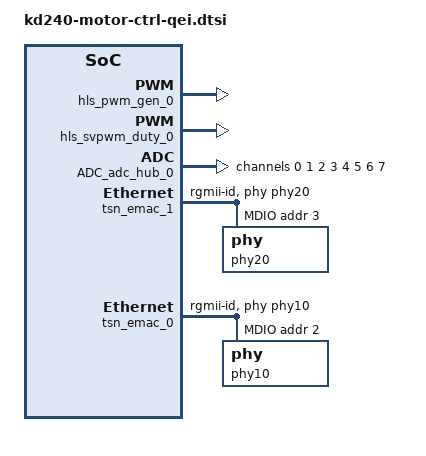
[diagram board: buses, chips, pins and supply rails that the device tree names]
// SPDX-License-Identifier: GPL-2.0
/*
 * dts file for Xilinx KD240 motor drives
 *
 * (C) Copyright 2023, Advanced Micro Devices, Inc.
 *
 */

/dts-v1/;
/plugin/;

&fpga_full {
	#address-cells = <2>;
	#size-cells = <2>;
	firmware-name = "kd240_motor_ctrl_qei.bit.bin";
	resets = <&zynqmp_reset 116>, <&zynqmp_reset 117>;
};

&amba {
	afi0: afi0 {
		compatible = "xlnx,afi-fpga";
		config-afi = < 0 0>, <1 0>, <2 0>, <3 0>, <4 0>, <5 0>, <6 0>, <7 0>, <8 0>, <9 0>, <10 0>, <11 0>, <12 0>, <13 0>, <14 0x800>, <15 0>;
	};

	clocking0: clocking0 {
		#clock-cells = <0>;
		assigned-clock-rates = <99999001>;
		assigned-clocks = <&zynqmp_clk 71>;
		clock-output-names = "fabric_clk";
		clocks = <&zynqmp_clk 71>;
		compatible = "xlnx,fclk";
	};

	clocking1: clocking1 {
		#clock-cells = <0>;
		assigned-clock-rates = <19999800>;
		assigned-clocks = <&zynqmp_clk 72>;
		clock-output-names = "fabric_clk";
		clocks = <&zynqmp_clk 72>;
		compatible = "xlnx,fclk";
	};


	hls_foc_periodic_0: hls_foc_periodic@a0000000 {
		clock-names = "ap_clk";
		clocks = <&zynqmp_clk 71>;
		compatible = "xlnx,hls-foc-periodic-1.0";
		interrupt-names = "interrupt";
		interrupt-parent = <&gic>;
		interrupts = <0 93 4>;
		reg = <0 0xa0000000 0 0x1000>;
	};

	hls_pwm_gen_0: hls_pwm_gen@a0040000 {
		clock-names = "ap_clk";
		clocks = <&zynqmp_clk 71>;
		compatible = "xlnx,hls-pwm-gen-1.0";
		interrupt-names = "interrupt";
		interrupt-parent = <&gic>;
		interrupts = <0 95 4>;
		reg = <0 0xa0040000 0 0x1000>;
	};

	hls_qei_axi_0: hls_qei_axi@a0030000 {
		clock-names = "ap_clk";
		clocks = <&zynqmp_clk 71>;
		compatible = "xlnx,hls-qei-axi-1.0";
		interrupt-names = "interrupt";
		interrupt-parent = <&gic>;
		interrupts = <0 92 4>;
		reg = <0 0xa0030000 0 0x1000>;
	};

	hls_svpwm_duty_0: hls_svpwm_duty@a0050000 {
		clock-names = "ap_clk";
		clocks = <&zynqmp_clk 71>;
		compatible = "xlnx,hls-svpwm-duty-1.0";
		interrupt-names = "interrupt";
		interrupt-parent = <&gic>;
		interrupts = <0 94 4>;
		reg = <0 0xa0050000 0 0x1000>;
	};

	axi_intc_0: interrupt-controller@80020000 {
		#interrupt-cells = <2>;
		compatible = "xlnx,xps-intc-1.00.a";
		interrupt-controller ;
		interrupt-parent = <&gic>;
		interrupts = <0 96 4>;
		reg = <0x0 0x80020000 0x0 0x1000>;
		xlnx,kind-of-intr = <0x000>;
		xlnx,num-intr-inputs = <0x20>;
	};

	axi_mcdma_0: axi_mcdma@80000000 {
		#dma-cells = <1>;
		compatible = "xlnx,eth-dma";
		interrupt-names = "mm2s_ch1_introut", "mm2s_ch2_introut", "s2mm_ch1_introut", "s2mm_ch2_introut", "s2mm_ch3_introut", "s2mm_ch4_introut";
		interrupt-parent = <&axi_intc_0>;
		interrupts = <9 2 10 2 11 2 12 2 13 2 14 2>;
		reg = <0x0 0x80000000 0x0 0x1000>;
		xlnx,addrwidth = <0x20>;
		xlnx,include-dre ;
		xlnx,num-mm2s-channels = <0x2>;
		xlnx,num-s2mm-channels = <0x4>;
	};

	motor_control_0: motor_control@a0020000 {
		clock-names = "s_axi_cntrl_clk";
		clocks = <&zynqmp_clk 71>;
		compatible = "generic-uio";
		linux,uio-name = "motor_control";
		interrupt-names = "interrupt";
		interrupt-parent = <&gic>;
		interrupts = <0 90 4>;
		reg = <0 0xa0020000 0 0x100>;
	};

	ADC_adc_hub_0: adc_hub@a0010000 {
		compatible = "xlnx,adc-hub-1.0";
		interrupt-names = "adc_hub-irq";
		interrupt-parent = <&gic>;
		interrupts = <0 89 4>;
		xlnx,numchannels = /bits/8 <8>;
		reg = <0 0xa0010000 0 0x1000>;
		#address-cells = <1>;
		#size-cells = <0>;
		channel@0 {
			reg = <0>;
			xlnx,type = "voltage";
			xlnx,bipolar;
		};
		channel@1 {
			reg = <1>;
			xlnx,type = "current";
			xlnx,bipolar;
		};
		channel@2 {
			reg = <2>;
			xlnx,type = "voltage";
			xlnx,bipolar;
		};
		channel@3 {
			reg = <3>;
			xlnx,type = "current";
			xlnx,bipolar;
		};
		channel@4 {
			reg = <4>;
			xlnx,type = "voltage";
			xlnx,bipolar;
		};
		channel@5 {
			reg = <5>;
			xlnx,type = "current";
			xlnx,bipolar;
		};
		channel@6 {
			reg = <6>;
			xlnx,type = "voltage";
		};
		channel@7 {
			reg = <7>;
			xlnx,type = "current";
		};
	};

	tsn_endpoint_ip_0: tsn_endpoint_ip_0 {
		#address-cells = <2>;
		#size-cells = <2>;
		compatible = "xlnx,tsn-endpoint-ethernet-mac-2.0";
		interrupt-names = "interrupt_ptp_rx_1", "interrupt_ptp_tx_1", "mac_irq_1", "tsn_ep_scheduler_irq", "interrupt_ptp_timer", "interrupt_ptp_rx_2", "interrupt_ptp_tx_2", "mac_irq_2";
		interrupt-parent = <&axi_intc_0>;
		interrupts = <0 2 2 2 4 2 7 2 6 2 1 2 3 2 5 2>;
		ranges ;
		reg = <0x0 0x80040000 0x0 0x40000>;

		tsn_emac_1: tsn_emac_1@80060000 {
			compatible = "xlnx,tsn-ethernet-1.00.a";
			interrupt-names = "interrupt_ptp_rx_2", "interrupt_ptp_tx_2", "mac_irq_2";
			interrupt-parent = <&axi_intc_0>;
			interrupts = <1 2 3 2 5 2>;
			local-mac-address = [00 0A 35 00 01 0f];
			phy-handle = <&phy20>;
			phy-mode = "rgmii-id";
			reg = <0x0 0x80060000 0x0 0x14000>;
			tsn,endpoint = <&tsn_ep>;
			xlnx,eth-hasnobuf ;
			xlnx,num-queues = /bits/ 16 <0x4>;
			xlnx,num-tc = /bits/ 16 <0x2>;
			xlnx,phy-type = <0x3>;
			xlnx,qbv-addr = <0x80074000>;
			xlnx,qbv-size = <0x4000>;
			xlnx,rxsum = <0>;
			xlnx,tsn ;
			xlnx,tsn-slave ;
			xlnx,txsum = <0>;
			my_tsn_ip_mdio1: mdio {
				#address-cells = <1>;
				#size-cells = <0>;
				phy20: phy@3 {
					reg = <0x3>;
					adi,rx-internal-delay-ps = <2000>;
					adi,tx-internal-delay-ps = <2000>;
					adi,fifo-depth-bits = <8>;
				};
			};
		};

		tsn_emac_0: tsn_emac_0@80040000 {
			axistream-connected-rx = <&axi_mcdma_0>, <&axi_mcdma_0>;
			axistream-connected-tx = <&axi_mcdma_0>, <&ta_dma_0>;
			compatible = "xlnx,tsn-ethernet-1.00.a";
			interrupt-names = "interrupt_ptp_rx_1", "interrupt_ptp_tx_1", "mac_irq_1", "interrupt_ptp_timer";
			interrupt-parent = <&axi_intc_0>;
			interrupts = <0 2 2 2 4 2 6 2>;
			local-mac-address = [00 0A 35 00 01 0e];
			phy-handle = <&phy10>;
			phy-mode = "rgmii-id";
			reg = <0x0 0x80040000 0x0 0x14000>;
			tsn,endpoint = <&tsn_ep>;
			xlnx,channel-ids = "1","2","3","4";
			xlnx,eth-hasnobuf ;
			xlnx,num-queues = /bits/ 16 <0x4>;
			xlnx,num-tc = /bits/ 16 <0x2>;
			xlnx,phy-type = <0x3>;
			xlnx,qbv-addr = <0x80054000>;
			xlnx,qbv-size = <0x2000>;
			xlnx,rxsum = <0>;
			xlnx,tsn ;
			xlnx,txsum = <0>;
			my_tsn_ip_mdio0: mdio {
				#address-cells = <1>;
				#size-cells = <0>;
				phy10: phy@2 {
					reg = <0x2>;
					adi,rx-internal-delay-ps = <2000>;
					adi,tx-internal-delay-ps = <2000>;
					adi,fifo-depth-bits = <8>;
				};
			};
		};

		epswitch: tsn_switch@80078000 {
			compatible = "xlnx,tsn-switch";
			ports = <&tsn_ep>, <&tsn_emac_0>, <&tsn_emac_1>;
			reg = <0x0 0x80078000 0x0 0x00008000>;
			xlnx,has-hwaddr-learning ;
			xlnx,num-ports = /bits/ 16 <0x3>;
			xlnx,num-tc = /bits/ 16 <0x2>;
		};

		tsn_ep: tsn_ep@80056000 {
			axistream-connected-rx = <&axi_mcdma_0>, <&axi_mcdma_0>;
			axistream-connected-tx = <&axi_mcdma_0>, <&ta_dma_0>;
			compatible = "xlnx,tsn-ep";
			interrupt-names = "tsn_ep_scheduler_irq", "mm2s_ch1_introut", "mm2s_ch2_introut", "s2mm_ch1_introut", "s2mm_ch2_introut", "s2mm_ch3_introut", "s2mm_ch4_introut";
			interrupt-parent = <&axi_intc_0>;
			interrupts = <7 2 9 2 10 2 11 2 12 2 13 2 14 2>;
			local-mac-address = [00 0A 35 00 01 05];
			reg = <0x0 0x80056000 0x0 0xA000>;
			xlnx,channel-ids = "1","2","3","4";
			xlnx,eth-hasnobuf ;
			xlnx,num-tc = /bits/ 16 <0x2>;
		};
	};

	ta_dma_0: ta_dma@90000000 {
		interrupt-names = "introut";
		interrupt-parent = <&axi_intc_0>;
		interrupts = <8 2>;
		reg = <0x0 0x90000000 0x0 0x800000>;
		xlnx,num-buffers-per-stream = <0x40>;
		xlnx,num-fetch-entries = <0x8>;
		xlnx,num-streams = <0x8>;
	};

	tpmod_ctrl_0: tpmod_ctrl@80030000 {
		compatible = "generic-uio";
		linux,uio-name = "tpmod_ctrl";
		reg = <0x0 0x80030000 0x0 0x1000>;
	};
};
